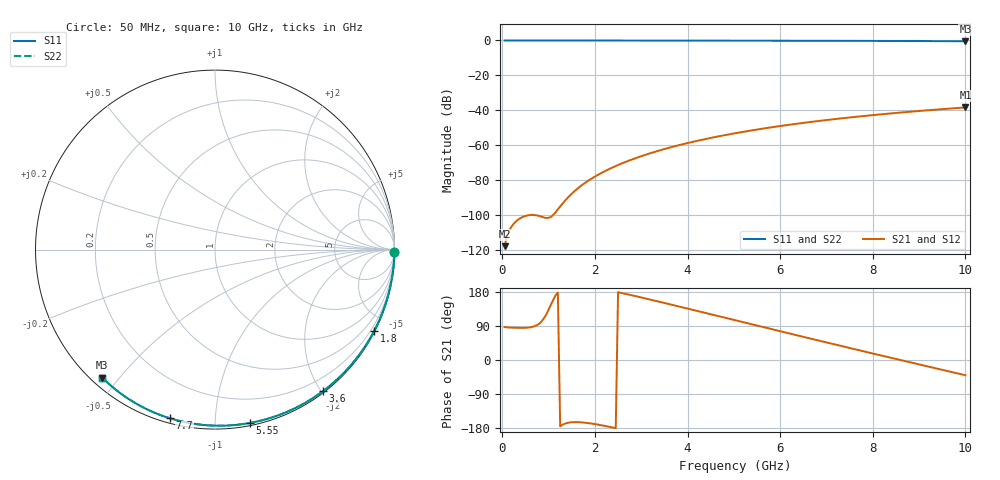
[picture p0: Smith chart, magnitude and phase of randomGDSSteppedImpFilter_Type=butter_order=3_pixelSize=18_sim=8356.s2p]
! freq	dB(S11)	phase(S11)	dB(S12)	phase(S12)
!  dB(S21)	phase(S21)	dB(S22)	phase(S22)
!S-par simulation data
#  GHz  S  DB  R 50
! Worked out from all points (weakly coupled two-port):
!   200 points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, 50 MHz to 10 GHz, reference 50 ohm
!   highest |S21| = -38.43 dB at 10 GHz (marker M1); lowest = -118.0 dB at 50 MHz (marker M2)
!   lowest |S11| = -0.4 dB at 10 GHz (marker M3), VSWR 39.10, Z = 1.54 - j22.6 ohm
!   |S11| at or under -10 dB: nowhere
!   |S22| runs from -0.4 to 0.0 dB; largest |S21 - S12| = 0
!   S11 on the Smith chart (normalised r, x): 50 MHz: open; 1.8 GHz: 0.04, -4.18; 3.6 GHz: 0.02, -2.02; 5.55 GHz: 0.02, -1.22; 7.7 GHz: 0.02, -0.77; 10 GHz: 0.03, -0.45
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0.05  -0.00 -0.8  -117.98 87.1  -117.98 87.1  -0.00 -0.8
0.9  -0.02 -13.6  -101.54 110.3  -101.54 110.3  -0.02 -13.6
1.75  -0.03 -26.2  -82.37 -165.0  -82.37 -165.0  -0.03 -26.2
1.8  -0.03 -26.9  -81.43 -165.6  -81.43 -165.6  -0.03 -26.9
1.85  -0.04 -27.7  -80.54 -166.4  -80.54 -166.4  -0.04 -27.7
1.9  -0.04 -28.4  -79.68 -167.2  -79.68 -167.2  -0.04 -28.4
2.05  -0.04 -30.6  -77.30 -170.2  -77.30 -170.2  -0.04 -30.6
2.25  -0.04 -33.5  -74.49 -174.8  -74.49 -174.8  -0.04 -33.5
2.45  -0.05 -36.4  -72.01 -179.8  -72.01 -179.8  -0.05 -36.4
2.65  -0.05 -39.3  -69.78 174.8  -69.78 174.8  -0.05 -39.3
3  -0.06 -44.2  -66.37 165.1  -66.37 165.1  -0.06 -44.2
3.4  -0.07 -49.9  -63.03 153.5  -63.03 153.5  -0.07 -49.9
3.6  -0.07 -52.6  -61.54 147.6  -61.54 147.6  -0.07 -52.6
4.3  -0.09 -62.2  -57.03 126.8  -57.03 126.8  -0.09 -62.2
5.05  -0.11 -72.2  -53.11 104.3  -53.11 104.3  -0.11 -72.2
5.55  -0.13 -78.6  -50.87 89.3  -50.87 89.3  -0.13 -78.6
6.1  -0.15 -85.6  -48.70 72.9  -48.70 72.9  -0.15 -85.6
6.7  -0.18 -93.0  -46.60 55.2  -46.60 55.2  -0.18 -93.0
7.7  -0.24 -105.0  -43.61 25.9  -43.61 25.9  -0.24 -105.0
8.35  -0.29 -112.6  -41.94 7.0  -41.94 7.0  -0.29 -112.6
9.15  -0.36 -121.8  -40.12 -15.9  -40.12 -15.9  -0.36 -121.8
10  -0.44 -131.4  -38.43 -40.2  -38.43 -40.2  -0.44 -131.4
